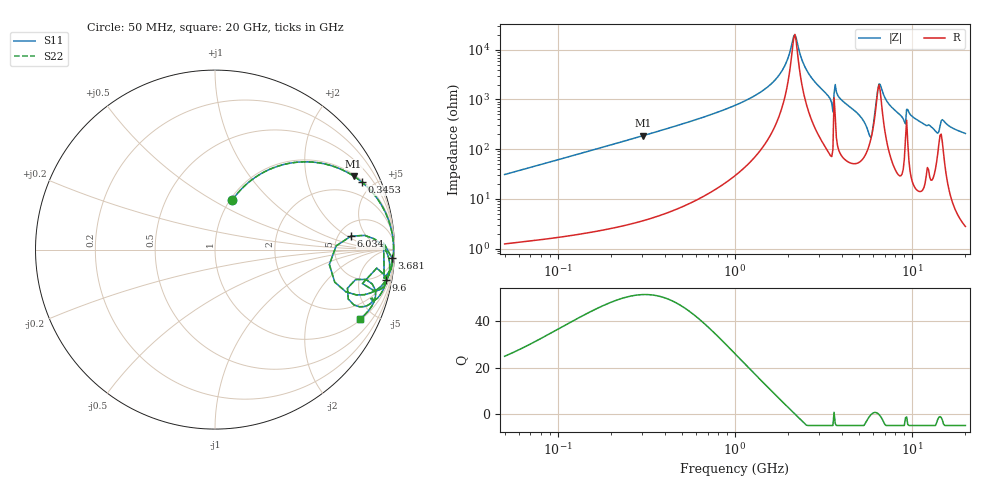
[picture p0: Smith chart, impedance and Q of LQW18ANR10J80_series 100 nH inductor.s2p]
!Murata Part Number: LQW18ANR10J80
!These Parameters are Measured in Series Mode Connection
!  o--[Z]--o
!Port1  Port2
!  o-------o
!Freq. Start=50[MHz] Stop=20[GHz], 401[Steps]
# Hz S RI R 50
!Freq.(Hz) S11(Real) S11(Imag) S21(Real) S21(Imag) S12(Real) S12(Imag) S22(Real) S22(Imag)
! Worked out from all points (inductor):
!   401 points, 50 MHz to 20 GHz, reference 50 ohm
!   read as one part in series: L = 97.7 nH near 51.52 MHz
!   highest Q = 51.5 at 301.7 MHz (marker M1), where L = 98.3 nH
!   self-resonance near 2.147 GHz
!   S11 on the Smith chart (normalised r, x): 50 MHz: 1.02, +0.62; 345.3 MHz: 1.08, +4.29; 3.681 GHz: 10, -39; 6.034 GHz: 6.53, +2.33; 9.6 GHz: 2, -11; 20 GHz: 1.06, -4.15
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5e7  0.0962 0.2754  0.9038 -0.2754  0.9038 -0.2754  0.0962 0.2754
1.364002e8  0.4125 0.4806  0.5875 -0.4806  0.5875 -0.4806  0.4125 0.4806
3.017088e8  0.7721 0.4099  0.2279 -0.4099  0.2279 -0.4099  0.7721 0.4099
3.452505e8  0.8167 0.3773  0.1833 -0.3773  0.1833 -0.3773  0.8167 0.3773
3.721004e8  0.8385 0.3583  0.1615 -0.3583  0.1615 -0.3583  0.8385 0.3583
1e9  0.9783 0.1278  0.0217 -0.1278  0.0217 -0.1278  0.9783 0.1278
1.689197e9  0.9937 0.0392  0.00633 -0.0392  0.00633 -0.0392  0.9937 0.0392
2.179053e9  0.9951 -0.000363  0.00488 0.000363  0.00488 0.000363  0.9951 -0.000363
2.728004e9  0.9934 -0.0372  0.00657 0.0372  0.00657 0.0372  0.9934 -0.0372
3.466789e9  0.9827 -0.0985  0.0173 0.0985  0.0173 0.0985  0.9827 -0.0985
3.680849e9  0.9862 -0.0474  0.0138 0.0474  0.0138 0.0474  0.9862 -0.0474
5.515528e9  0.8324 -0.2511  0.1676 0.2511  0.1676 0.2511  0.8324 -0.2511
5.769027e9  0.6671 -0.1813  0.3329 0.1813  0.3329 0.1813  0.6671 -0.1813
6.034176e9  0.7576 0.0751  0.2424 -0.0751  0.2424 -0.0751  0.7576 0.0751
6.406762e9  0.942 0.01  0.058 -0.01  0.058 -0.01  0.942 0.01
6.601595e9  0.9628 -0.0302  0.0372 0.0302  0.0372 0.0302  0.9628 -0.0302
7.442007e9  0.9716 -0.121  0.0284 0.121  0.0284 0.121  0.9716 -0.121
8.907419e9  0.9247 -0.2202  0.0753 0.2202  0.0753 0.2202  0.9247 -0.2202
9.600142e9  0.9513 -0.1689  0.0487 0.1689  0.0487 0.1689  0.9513 -0.1689
1.354865e10  0.8049 -0.3185  0.1951 0.3185  0.1951 0.3185  0.8049 -0.3185
1.504638e10  0.8904 -0.2185  0.1096 0.2185  0.1096 0.2185  0.8904 -0.2185
2e10  0.8083 -0.3869  0.1917 0.3869  0.1917 0.3869  0.8083 -0.3869
